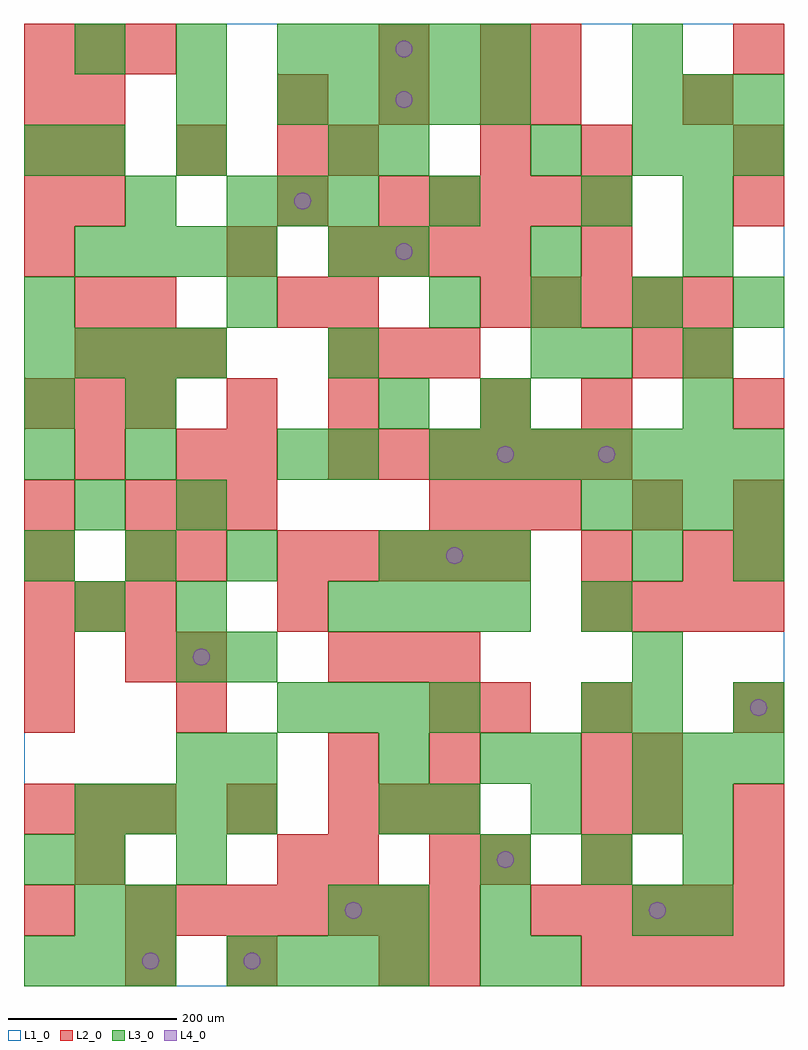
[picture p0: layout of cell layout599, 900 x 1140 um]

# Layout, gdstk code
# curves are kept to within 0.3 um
import gdstk
lib = gdstk.Library(unit=1e-6, precision=1e-09)
def R(c, l, rs):  # rectangles x0, y0, x1, y1
    for r in rs: c.add(gdstk.rectangle(r[:2], r[2:], *l))
def A(c, l, x, y, w, h, nx, ny, dx, dy):  # array of equal rectangles
    R(c, l, [(x+i*dx, y+j*dy, x+i*dx+w, y+j*dy+h) for i in range(nx) for j in range(ny)])
def P(c, l, *ps):  # polygons
    for p in ps: c.add(gdstk.Polygon(p, *l))
L1_0 = (1, 0)
L2_0 = (2, 0)
L3_0 = (3, 0)
L4_0 = (4, 0)

layout599 = lib.new_cell('layout599')
R(layout599, L1_0, [(0,0,900,1140)])
A(layout599, L2_0, 480, 0, 60, 60, 1, 3, 0, 120)
A(layout599, L2_0, 660, 0, 60, 60, 4, 2, 60, 420)
A(layout599, L2_0, 120, 60, 60, 60, 7, 1, 60, 0)
A(layout599, L2_0, 600, 60, 60, 60, 5, 1, 60, 0)
A(layout599, L2_0, 660, 120, 60, 60, 1, 4, 0, 60)
A(layout599, L2_0, 0, 180, 60, 60, 3, 3, 60, 240)
A(layout599, L2_0, 360, 180, 60, 60, 3, 2, 60, 180)
A(layout599, L2_0, 180, 360, 60, 60, 1, 3, 0, 120)
A(layout599, L2_0, 300, 480, 60, 60, 5, 1, 60, 0)
A(layout599, L2_0, 660, 480, 60, 60, 1, 3, 0, 180)
A(layout599, L2_0, 120, 540, 60, 60, 3, 1, 60, 0)
A(layout599, L2_0, 480, 540, 60, 60, 3, 1, 60, 0)
A(layout599, L2_0, 360, 600, 60, 60, 6, 1, 60, 0)
A(layout599, L2_0, 60, 720, 60, 60, 3, 1, 60, 0)
A(layout599, L2_0, 360, 720, 60, 60, 3, 1, 60, 0)
A(layout599, L2_0, 60, 780, 60, 60, 1, 3, 0, 120)
A(layout599, L2_0, 540, 780, 60, 60, 5, 1, 60, 0)
A(layout599, L2_0, 0, 840, 60, 60, 1, 4, 0, 60)
A(layout599, L2_0, 360, 840, 60, 60, 4, 1, 60, 0)
A(layout599, L2_0, 420, 900, 60, 60, 5, 1, 60, 0)
A(layout599, L2_0, 60, 960, 60, 60, 3, 1, 120, 0)
A(layout599, L2_0, 300, 1020, 60, 60, 3, 1, 120, 0)
A(layout599, L2_0, 0, 1080, 60, 60, 3, 1, 60, 0)
R(layout599, L2_0, [(120,0,180,60), (240,0,300,60), (420,0,480,60), (0,60,60,120), (60,120,120,180), (300,120,360,180), (360,120,420,180), (540,120,600,180), (840,120,900,180), (240,180,300,240), (720,180,780,240), (840,180,900,240), (360,240,420,300), (720,240,780,300), (0,300,60,360), (180,300,240,360), (480,300,540,360), (540,300,600,360), (840,300,900,360), (0,360,60,420), (120,360,180,420), (300,420,360,480), (0,480,60,540), (120,480,180,540), (780,480,840,540), (840,480,900,540), (0,540,60,600), (720,540,780,600), (840,540,900,600), (60,600,120,660), (240,600,300,660), (240,660,300,720), (360,660,420,720), (540,660,600,720), (840,660,900,720), (720,720,780,780), (780,720,840,780), (120,780,180,840), (300,780,360,840), (360,780,420,840), (240,840,300,900), (300,900,360,960), (840,900,900,960), (360,960,420,1020), (540,960,600,1020), (660,960,720,1020), (840,960,900,1020), (600,1020,660,1080), (780,1020,840,1080), (420,1080,480,1140), (540,1080,600,1140), (600,1080,660,1140), (840,1080,900,1140)])
A(layout599, L3_0, 0, 0, 60, 60, 3, 1, 60, 0)
A(layout599, L3_0, 240, 0, 60, 60, 4, 1, 60, 0)
A(layout599, L3_0, 180, 120, 60, 60, 1, 3, 0, 120)
A(layout599, L3_0, 540, 120, 60, 60, 3, 1, 120, 0)
A(layout599, L3_0, 60, 180, 60, 60, 4, 2, 60, 660)
A(layout599, L3_0, 480, 180, 60, 60, 3, 1, 120, 0)
A(layout599, L3_0, 720, 240, 60, 60, 3, 2, 60, 720)
A(layout599, L3_0, 300, 300, 60, 60, 4, 1, 60, 0)
A(layout599, L3_0, 360, 420, 60, 60, 4, 2, 60, 660)
A(layout599, L3_0, 0, 480, 60, 60, 3, 1, 120, 0)
A(layout599, L3_0, 420, 480, 60, 60, 3, 1, 60, 0)
A(layout599, L3_0, 660, 540, 60, 60, 4, 1, 60, 0)
A(layout599, L3_0, 360, 600, 60, 60, 1, 4, 0, 120)
A(layout599, L3_0, 480, 600, 60, 60, 7, 1, 60, 0)
A(layout599, L3_0, 0, 720, 60, 60, 4, 1, 60, 0)
A(layout599, L3_0, 0, 780, 60, 60, 3, 1, 240, 0)
A(layout599, L3_0, 600, 780, 60, 60, 3, 1, 120, 0)
A(layout599, L3_0, 420, 840, 60, 60, 3, 1, 180, 0)
A(layout599, L3_0, 240, 900, 60, 60, 3, 1, 60, 0)
A(layout599, L3_0, 300, 1020, 60, 60, 5, 1, 60, 0)
A(layout599, L3_0, 720, 1020, 60, 60, 3, 1, 60, 0)
A(layout599, L3_0, 60, 1080, 60, 60, 3, 1, 120, 0)
R(layout599, L3_0, [(540,0,600,60), (600,0,660,60), (60,60,120,120), (120,60,180,120), (360,60,420,120), (420,60,480,120), (540,60,600,120), (720,60,780,120), (780,60,840,120), (0,120,60,180), (60,120,120,180), (420,180,480,240), (780,180,840,240), (240,240,300,300), (420,240,480,300), (540,240,600,300), (600,240,660,300), (660,300,720,360), (720,300,780,360), (840,300,900,360), (240,360,300,420), (720,360,780,420), (60,420,120,480), (180,420,240,480), (660,420,720,480), (720,480,780,540), (840,480,900,540), (60,540,120,600), (180,540,240,600), (0,600,60,660), (120,600,180,660), (300,600,360,660), (0,660,60,720), (120,660,180,720), (420,660,480,720), (540,660,600,720), (780,660,840,720), (600,720,660,780), (660,720,720,780), (780,720,840,780), (120,900,180,960), (480,900,540,960), (660,900,720,960), (780,900,840,960), (0,960,60,1020), (60,960,120,1020), (180,960,240,1020), (420,960,480,1020), (600,960,660,1020), (180,1020,240,1080), (720,1080,780,1140)])
P(layout599, L4_0, [(160,30),(159.239,33.827),(157.071,37.071),(153.827,39.239),(150,40),(146.173,39.239),(142.929,37.071),(140.761,33.827),(140,30),(140.761,26.173),(142.929,22.929),(146.173,20.761),(150,20),(153.827,20.761),(157.071,22.929),(159.239,26.173)],
  [(220,390),(219.239,393.827),(217.071,397.071),(213.827,399.239),(210,400),(206.173,399.239),(202.929,397.071),(200.761,393.827),(200,390),(200.761,386.173),(202.929,382.929),(206.173,380.761),(210,380),(213.827,380.761),(217.071,382.929),(219.239,386.173)],
  [(280,30),(279.239,33.827),(277.071,37.071),(273.827,39.239),(270,40),(266.173,39.239),(262.929,37.071),(260.761,33.827),(260,30),(260.761,26.173),(262.929,22.929),(266.173,20.761),(270,20),(273.827,20.761),(277.071,22.929),(279.239,26.173)],
  [(340,930),(339.239,933.827),(337.071,937.071),(333.827,939.239),(330,940),(326.173,939.239),(322.929,937.071),(320.761,933.827),(320,930),(320.761,926.173),(322.929,922.929),(326.173,920.761),(330,920),(333.827,920.761),(337.071,922.929),(339.239,926.173)],
  [(400,90),(399.239,93.827),(397.071,97.071),(393.827,99.239),(390,100),(386.173,99.239),(382.929,97.071),(380.761,93.827),(380,90),(380.761,86.173),(382.929,82.929),(386.173,80.761),(390,80),(393.827,80.761),(397.071,82.929),(399.239,86.173)],
  [(460,870),(459.239,873.827),(457.071,877.071),(453.827,879.239),(450,880),(446.173,879.239),(442.929,877.071),(440.761,873.827),(440,870),(440.761,866.173),(442.929,862.929),(446.173,860.761),(450,860),(453.827,860.761),(457.071,862.929),(459.239,866.173)],
  [(460,1050),(459.239,1053.827),(457.071,1057.071),(453.827,1059.239),(450,1060),(446.173,1059.239),(442.929,1057.071),(440.761,1053.827),(440,1050),(440.761,1046.173),(442.929,1042.929),(446.173,1040.761),(450,1040),(453.827,1040.761),(457.071,1042.929),(459.239,1046.173)],
  [(460,1110),(459.239,1113.827),(457.071,1117.071),(453.827,1119.239),(450,1120),(446.173,1119.239),(442.929,1117.071),(440.761,1113.827),(440,1110),(440.761,1106.173),(442.929,1102.929),(446.173,1100.761),(450,1100),(453.827,1100.761),(457.071,1102.929),(459.239,1106.173)],
  [(520,510),(519.239,513.827),(517.071,517.071),(513.827,519.239),(510,520),(506.173,519.239),(502.929,517.071),(500.761,513.827),(500,510),(500.761,506.173),(502.929,502.929),(506.173,500.761),(510,500),(513.827,500.761),(517.071,502.929),(519.239,506.173)],
  [(580,150),(579.239,153.827),(577.071,157.071),(573.827,159.239),(570,160),(566.173,159.239),(562.929,157.071),(560.761,153.827),(560,150),(560.761,146.173),(562.929,142.929),(566.173,140.761),(570,140),(573.827,140.761),(577.071,142.929),(579.239,146.173)],
  [(580,630),(579.239,633.827),(577.071,637.071),(573.827,639.239),(570,640),(566.173,639.239),(562.929,637.071),(560.761,633.827),(560,630),(560.761,626.173),(562.929,622.929),(566.173,620.761),(570,620),(573.827,620.761),(577.071,622.929),(579.239,626.173)],
  [(700,630),(699.239,633.827),(697.071,637.071),(693.827,639.239),(690,640),(686.173,639.239),(682.929,637.071),(680.761,633.827),(680,630),(680.761,626.173),(682.929,622.929),(686.173,620.761),(690,620),(693.827,620.761),(697.071,622.929),(699.239,626.173)],
  [(760,90),(759.239,93.827),(757.071,97.071),(753.827,99.239),(750,100),(746.173,99.239),(742.929,97.071),(740.761,93.827),(740,90),(740.761,86.173),(742.929,82.929),(746.173,80.761),(750,80),(753.827,80.761),(757.071,82.929),(759.239,86.173)],
  [(880,330),(879.239,333.827),(877.071,337.071),(873.827,339.239),(870,340),(866.173,339.239),(862.929,337.071),(860.761,333.827),(860,330),(860.761,326.173),(862.929,322.929),(866.173,320.761),(870,320),(873.827,320.761),(877.071,322.929),(879.239,326.173)])

lib.write_gds('layout599.gds')
